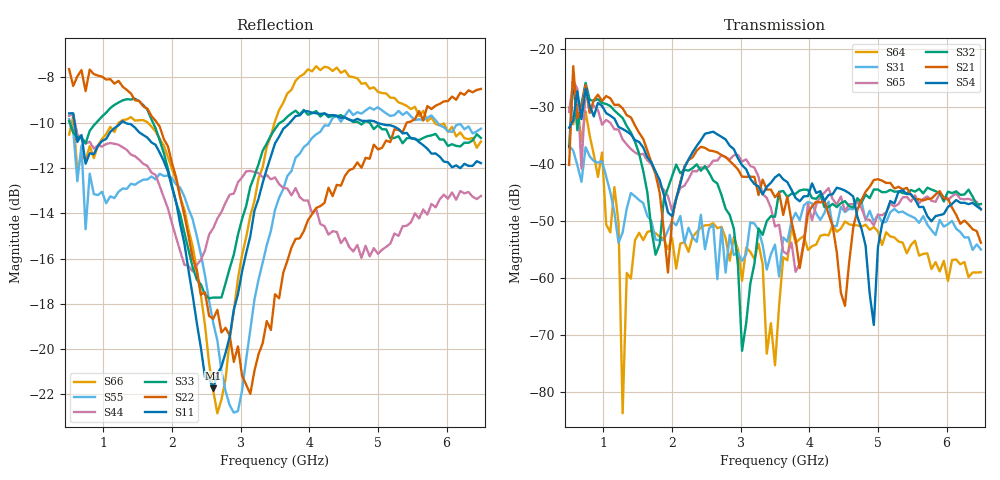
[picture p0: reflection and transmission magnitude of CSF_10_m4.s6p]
!Keysight Technologies,M9804A,MY58100912,A.14.10.03
!Date: Thursday, April 27, 2023 10:28:33
!Correction: S11(C  6-Port  )
!S12(C  6-Port  )
!S13(C  6-Port  )
!S14(C  6-Port  )
!S15(C  6-Port  )
!S16(C  6-Port  )
!S21(C  6-Port  )
!S22(C  6-Port  )
!S23(C  6-Port  )
!S24(C  6-Port  )
!S25(C  6-Port  )
!S26(C  6-Port  )
!S31(C  6-Port  )
!S32(C  6-Port  )
!S33(C  6-Port  )
!S34(C  6-Port  )
!S35(C  6-Port  )
!S36(C  6-Port  )
!S41(C  6-Port  )
!S42(C  6-Port  )
!S43(C  6-Port  )
!S44(C  6-Port  )
!S45(C  6-Port  )
!S46(C  6-Port  )
!S51(C  6-Port  )
!S52(C  6-Port  )
!S53(C  6-Port  )
!S54(C  6-Port  )
!S55(C  6-Port  )
!S56(C  6-Port  )
!S61(C  6-Port  )
!S62(C  6-Port  )
!S63(C  6-Port  )
!S64(C  6-Port  )
!S65(C  6-Port  )
!S66(C  6-Port  )
!S6P File: Measurement: :
# Hz S  RI  R 50
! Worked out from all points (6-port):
!   101 points, 500 MHz to 6.5 GHz, reference 50 ohm
!   strongest paths, dB at 500 MHz, 2 GHz, 3.5 GHz, 5 GHz, 6.5 GHz:
!     S54: -33.7, -49.2, -42.4, -54.6, -48.0
!     S21: -40.2, -49.8, -45.9, -42.7, -53.8
!     S32: -37.2, -42.2, -49.3, -44.5, -47.1
!     S65: -30.9, -48.3, -51.0, -48.9, -48.1
!     S31: -36.9, -50.1, -54.2, -48.9, -55.0
!     S64: -30.1, -53.0, -75.3, -51.9, -59.0
!   lowest |S11| = -21.7 dB at 2.6 GHz (marker M1), VSWR 1.18, Z = 42.7 + j2.01 ohm
!   |S11| at or under -10 dB: 579.5 MHz to 1.259 GHz (679.6 MHz wide, 73.9 % of centre); 1.316 GHz to 3.717 GHz (2.401 GHz wide, 95.4 % of centre); 4.983 GHz to end of sweep
